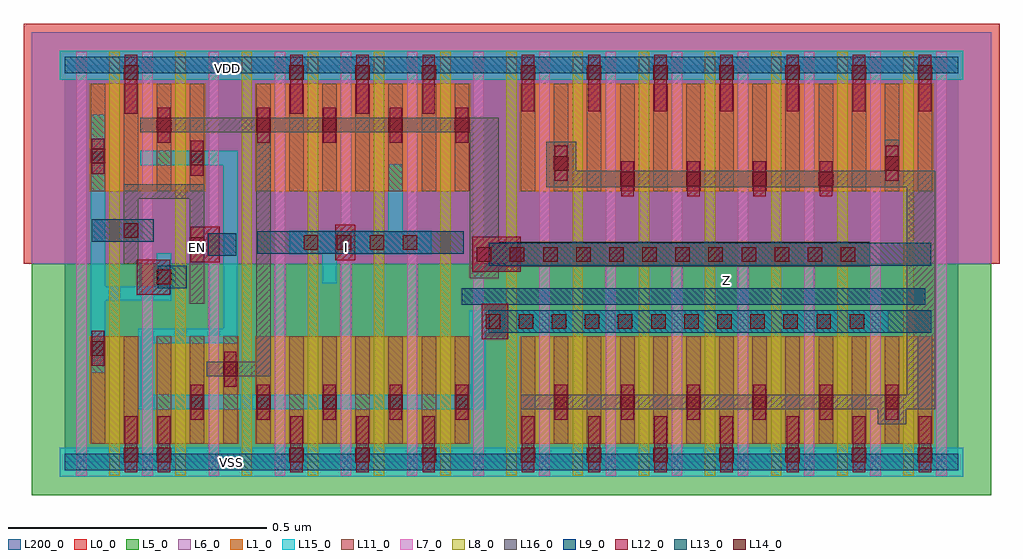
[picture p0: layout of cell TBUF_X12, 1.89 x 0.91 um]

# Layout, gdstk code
import gdstk
lib = gdstk.Library(unit=1e-6, precision=1e-09)
def R(c, l, rs):  # rectangles x0, y0, x1, y1
    for r in rs: c.add(gdstk.rectangle(r[:2], r[2:], *l))
def A(c, l, x, y, w, h, nx, ny, dx, dy):  # array of equal rectangles
    R(c, l, [(x+i*dx, y+j*dy, x+i*dx+w, y+j*dy+h) for i in range(nx) for j in range(ny)])
def P(c, l, *ps):  # polygons
    for p in ps: c.add(gdstk.Polygon(p, *l))
L0_0 = (0, 0)
L1_0 = (1, 0)
L5_0 = (5, 0)
L6_0 = (6, 0)
L7_0 = (7, 0)
L8_0 = (8, 0)
L9_0 = (9, 0)
L11_0 = (11, 0)
L12_0 = (12, 0)
L13_0 = (13, 0)
L14_0 = (14, 0)
L15_0 = (15, 0)
L16_0 = (16, 0)
L200_0 = (200, 0)

tbuf_x12 = lib.new_cell('TBUF_X12')
R(tbuf_x12, L0_0, [(-0.08,0.384,1.808,0.848)])
R(tbuf_x12, L1_0, [(0.048,0.036,0.144,0.244), (0.176,0.036,0.336,0.244), (0.368,0.036,0.784,0.244), (0.88,0.036,1.68,0.244), (0.048,0.524,0.272,0.732), (0.368,0.524,0.784,0.732), (0.88,0.524,1.68,0.732)])
R(tbuf_x12, L5_0, [(-0.064,-0.064,1.792,0.384)])
R(tbuf_x12, L6_0, [(-0.064,0.384,1.792,0.832)])
A(tbuf_x12, L7_0, 0.022, -0.026, 0.02, 0.82, 14, 1, 0.128, 0)
A(tbuf_x12, L8_0, 0.086, -0.026, 0.02, 0.82, 13, 1, 0.128, 0)
R(tbuf_x12, L9_0, [(0,-0.016,1.728,0.016), (0.768,0.304,1.664,0.336), (0,0.752,1.728,0.784)])
A(tbuf_x12, L11_0, 0.05, 0.036, 0.028, 0.208, 12, 1, 0.064, 0)
A(tbuf_x12, L11_0, 0.882, 0.036, 0.028, 0.208, 13, 2, 0.064, 0.488)
A(tbuf_x12, L11_0, 0.05, 0.524, 0.028, 0.208, 4, 1, 0.064, 0)
A(tbuf_x12, L11_0, 0.37, 0.524, 0.028, 0.208, 7, 1, 0.064, 0)
A(tbuf_x12, L12_0, 0.436, -0.02, 0.024, 0.109, 3, 1, 0.128, 0)
A(tbuf_x12, L12_0, 0.884, -0.02, 0.024, 0.109, 7, 2, 0.128, 0.699)
A(tbuf_x12, L12_0, 0.244, 0.082, 0.024, 0.068, 5, 1, 0.128, 0)
A(tbuf_x12, L12_0, 0.948, 0.082, 0.024, 0.068, 6, 1, 0.128, 0)
A(tbuf_x12, L12_0, 1.076, 0.514, 0.024, 0.068, 4, 1, 0.128, 0)
A(tbuf_x12, L12_0, 0.372, 0.618, 0.024, 0.068, 4, 1, 0.128, 0)
A(tbuf_x12, L12_0, 0.436, 0.674, 0.024, 0.114, 3, 1, 0.128, 0)
R(tbuf_x12, L12_0, [(0.116,-0.02,0.14,0.089), (0.18,-0.02,0.204,0.089), (0.308,0.146,0.332,0.214), (0.052,0.186,0.076,0.254), (0.806,0.238,0.858,0.306), (0.139,0.324,0.204,0.392), (0.788,0.368,0.882,0.436), (0.244,0.387,0.3,0.455), (0.523,0.391,0.562,0.459), (0.948,0.544,0.972,0.612), (1.588,0.544,1.612,0.612), (0.244,0.554,0.268,0.622), (0.052,0.558,0.076,0.626), (0.18,0.618,0.204,0.686), (0.116,0.674,0.14,0.788)])
R(tbuf_x12, L13_0, [(0.82,0.25,1.676,0.294), (0.18,0.336,0.236,0.38), (0.82,0.38,1.676,0.424), (0.276,0.399,0.332,0.443), (0.372,0.403,0.772,0.447), (0.052,0.426,0.172,0.47)])
A(tbuf_x12, L14_0, 0.434, 0, 0.028, 0.028, 3, 2, 0.128, 0.74)
A(tbuf_x12, L14_0, 0.882, 0, 0.028, 0.028, 7, 2, 0.128, 0.74)
A(tbuf_x12, L14_0, 0.242, 0.102, 0.028, 0.028, 5, 1, 0.128, 0)
A(tbuf_x12, L14_0, 0.946, 0.102, 0.028, 0.028, 6, 1, 0.128, 0)
A(tbuf_x12, L14_0, 0.814, 0.258, 0.028, 0.028, 12, 1, 0.064, 0)
A(tbuf_x12, L14_0, 0.797, 0.388, 0.028, 0.028, 12, 1, 0.064, 0)
A(tbuf_x12, L14_0, 0.462, 0.411, 0.028, 0.028, 4, 1, 0.064, 0)
A(tbuf_x12, L14_0, 1.074, 0.534, 0.028, 0.028, 4, 1, 0.128, 0)
A(tbuf_x12, L14_0, 0.37, 0.638, 0.028, 0.028, 4, 1, 0.128, 0)
R(tbuf_x12, L14_0, [(0.114,0,0.142,0.028), (0.178,0,0.206,0.028), (0.306,0.166,0.334,0.194), (0.05,0.206,0.078,0.234), (0.178,0.344,0.206,0.372), (0.242,0.407,0.27,0.435), (0.114,0.434,0.142,0.462), (0.946,0.564,0.974,0.592), (1.586,0.564,1.614,0.592), (0.242,0.574,0.27,0.602), (0.05,0.578,0.078,0.606), (0.178,0.638,0.206,0.666), (0.114,0.74,0.142,0.768)])
R(tbuf_x12, L15_0, [(-0.01,-0.028,1.738,0.028), (-0.01,0.74,1.738,0.796)])
P(tbuf_x12, L15_0, [(0.05,0.174),(0.078,0.174),(0.078,0.312),(0.206,0.312),(0.206,0.404),(0.178,0.404),(0.178,0.34),(0.078,0.34),(0.078,0.672),(0.05,0.672)],
  [(0.434,0.402),(0.498,0.402),(0.498,0.346),(0.526,0.346),(0.526,0.402),(0.71,0.402),(0.71,0.448),(0.654,0.448),(0.654,0.576),(0.626,0.576),(0.626,0.448),(0.434,0.448)],
  [(0.146,0.574),(0.306,0.574),(0.306,0.258),(0.142,0.258),(0.142,0.102),(0.814,0.102),(0.814,0.25),(1.593,0.25),(1.593,0.294),(0.782,0.294),(0.782,0.13),(0.17,0.13),(0.17,0.23),(0.334,0.23),(0.334,0.602),(0.146,0.602)])
P(tbuf_x12, L16_0, [(0.114,0.384),(0.142,0.384),(0.142,0.51),(0.242,0.51),(0.242,0.306),(0.27,0.306),(0.27,0.538),(0.114,0.538)],
  [(0.146,0.638),(0.37,0.638),(0.37,0.194),(0.274,0.194),(0.274,0.166),(0.398,0.166),(0.398,0.638),(0.783,0.638),(0.783,0.356),(0.839,0.356),(0.839,0.378),(1.557,0.378),(1.557,0.426),(0.839,0.426),(0.839,0.666),(0.146,0.666)],
  [(0.931,0.532),(1.629,0.532),(1.629,0.13),(0.882,0.13),(0.882,0.102),(1.572,0.102),(1.572,0.073),(1.628,0.073),(1.628,0.102),(1.684,0.102),(1.684,0.564),(1.614,0.564),(1.614,0.624),(1.586,0.624),(1.586,0.564),(0.989,0.564),(0.989,0.62),(0.931,0.62)])
R(tbuf_x12, L200_0, [(0,0,1.728,0.768)])
tbuf_x12.add(gdstk.Label('VSS', (0.322,-0.001), layer=15, texttype=20))
tbuf_x12.add(gdstk.Label('I', (0.544,0.416), layer=15, texttype=20))
tbuf_x12.add(gdstk.Label('VDD', (0.314,0.762), layer=15, texttype=20))
tbuf_x12.add(gdstk.Label('Z', (1.28,0.352), layer=16, texttype=20))
tbuf_x12.add(gdstk.Label('EN', (0.256,0.416), layer=16, texttype=20))

lib.write_gds('TBUF_X12.gds')
